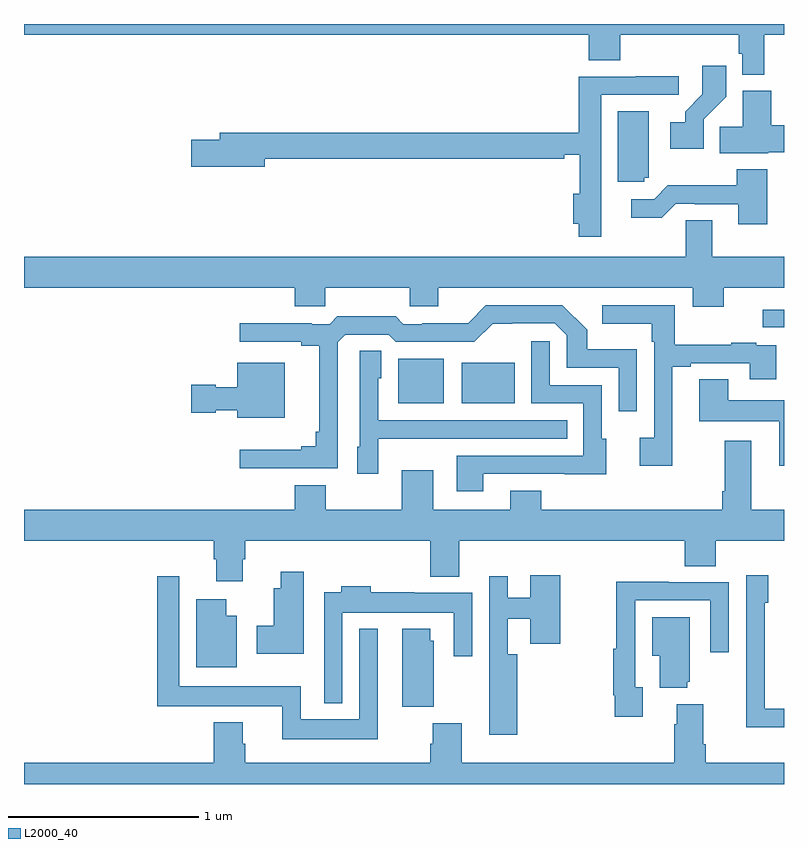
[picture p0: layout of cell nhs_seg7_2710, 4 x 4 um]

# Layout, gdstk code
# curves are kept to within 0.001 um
import gdstk
lib = gdstk.Library(unit=1e-6, precision=1e-09)
def R(c, l, rs):  # rectangles x0, y0, x1, y1
    for r in rs: c.add(gdstk.rectangle(r[:2], r[2:], *l))
def P(c, l, *ps):  # polygons
    for p in ps: c.add(gdstk.Polygon(p, *l))
L2000_40 = (2000, 40)

nhs_seg7_2710 = lib.new_cell('nhs_seg7_2710')
R(nhs_seg7_2710, L2000_40, [(288.971,1004.003,289.21,1004.239), (289.304,1004.003,289.582,1004.218), (290.889,1004.403,291,1004.497)])
P(nhs_seg7_2710, L2000_40, [(287,1005.944),(289.973,1005.944),(289.973,1005.808),(290.138,1005.808),(290.138,1005.944),(290.761,1005.944),(290.761,1005.843),(290.781,1005.843),(290.781,1005.734),(290.897,1005.734),(290.897,1005.944),(291,1005.944),(291,1006),(287,1006)],
  [(290.577,1005.499),(290.696,1005.618),(290.696,1005.781),(290.571,1005.781),(290.571,1005.629),(290.48,1005.539),(290.48,1005.484),(290.4,1005.484),(290.4,1005.344),(290.577,1005.344)],
  [(290.038,1005.102),(290.037,1005.102),(290.037,1005.627),(290.446,1005.627),(290.446,1005.726),(290.221,1005.726),(290.221,1005.723),(289.921,1005.723),(289.921,1005.428),(288.029,1005.428),(288.029,1005.392),(287.88,1005.392),(287.88,1005.25),(288.268,1005.25),(288.268,1005.292),(289.844,1005.292),(289.844,1005.311),(289.925,1005.311),(289.925,1005.106),(289.892,1005.106),(289.892,1004.948),(289.921,1004.948),(289.921,1004.88),(290.038,1004.88)],
  [(290.916,1005.326),(291,1005.326),(291,1005.468),(290.933,1005.468),(290.933,1005.649),(290.783,1005.649),(290.783,1005.458),(290.662,1005.458),(290.662,1005.32),(290.916,1005.32)],
  [(290.265,1005.192),(290.287,1005.192),(290.287,1005.541),(290.126,1005.541),(290.126,1005.171),(290.265,1005.171)],
  [(290.912,1005.235),(290.752,1005.235),(290.752,1005.151),(290.389,1005.151),(290.316,1005.078),(290.196,1005.078),(290.196,1004.981),(290.357,1004.981),(290.43,1005.054),(290.53,1005.054),(290.53,1005.051),(290.759,1005.051),(290.759,1004.946),(290.912,1004.946)],
  [(290.683,1004.612),(291,1004.612),(291,1004.776),(290.623,1004.776),(290.623,1004.966),(290.484,1004.966),(290.484,1004.776),(287,1004.776),(287,1004.612),(288.425,1004.612),(288.425,1004.514),(288.585,1004.514),(288.585,1004.612),(289.03,1004.612),(289.03,1004.514),(289.18,1004.514),(289.18,1004.612),(290.519,1004.612),(290.519,1004.513),(290.683,1004.513)],
  [(288.651,1004.325),(288.69,1004.364),(288.921,1004.364),(288.957,1004.328),(289.371,1004.328),(289.466,1004.423),(289.794,1004.424),(289.857,1004.361),(289.857,1004.19),(290.13,1004.19),(290.13,1003.962),(290.226,1003.962),(290.226,1004.287),(289.965,1004.287),(289.965,1004.39),(289.834,1004.52),(289.431,1004.52),(289.337,1004.426),(289.096,1004.426),(289.096,1004.421),(288.996,1004.421),(288.957,1004.461),(288.649,1004.461),(288.609,1004.421),(288.515,1004.421),(288.515,1004.426),(288.135,1004.426),(288.135,1004.328),(288.458,1004.328),(288.458,1004.306),(288.554,1004.306),(288.554,1003.855),(288.535,1003.855),(288.535,1003.778),(288.458,1003.778),(288.458,1003.759),(288.135,1003.759),(288.135,1003.662),(288.651,1003.662)],
  [(290.413,1004.196),(290.509,1004.196),(290.509,1004.214),(290.819,1004.214),(290.819,1004.13),(290.959,1004.13),(290.959,1004.31),(290.855,1004.31),(290.855,1004.323),(290.723,1004.323),(290.723,1004.312),(290.425,1004.312),(290.425,1004.52),(290.043,1004.52),(290.043,1004.423),(290.304,1004.423),(290.304,1004.327),(290.316,1004.327),(290.316,1003.822),(290.241,1003.822),(290.241,1003.674),(290.413,1003.674)],
  [(289.417,1003.632),(289.847,1003.632),(289.847,1003.631),(290.065,1003.631),(290.065,1003.818),(290.04,1003.818),(290.04,1004.1),(289.767,1004.1),(289.767,1004.329),(289.671,1004.329),(289.671,1004.004),(289.944,1004.004),(289.944,1003.728),(289.277,1003.728),(289.277,1003.542),(289.417,1003.542)],
  [(288.864,1003.817),(289.181,1003.817),(289.181,1003.818),(289.859,1003.818),(289.859,1003.914),(288.864,1003.914),(288.864,1004.136),(288.88,1004.136),(288.88,1004.279),(288.768,1004.279),(288.768,1003.776),(288.755,1003.776),(288.755,1003.632),(288.864,1003.632)],
  [(288.373,1004.218),(288.122,1004.218),(288.122,1004.089),(288.009,1004.089),(288.009,1004.102),(287.88,1004.102),(287.88,1003.955),(288.009,1003.955),(288.009,1003.967),(288.122,1003.967),(288.122,1003.928),(288.373,1003.928)],
  [(291,1004.02),(290.707,1004.02),(290.707,1004.129),(290.555,1004.129),(290.555,1003.91),(290.975,1003.91),(290.975,1003.674),(291,1003.674)],
  [(288.151,1003.182),(288.164,1003.182),(288.164,1003.28),(289.139,1003.28),(289.139,1003.091),(289.291,1003.091),(289.291,1003.28),(290.477,1003.28),(290.477,1003.147),(290.642,1003.147),(290.642,1003.28),(291,1003.28),(291,1003.444),(290.827,1003.444),(290.827,1003.807),(290.687,1003.807),(290.687,1003.54),(290.675,1003.54),(290.675,1003.444),(289.723,1003.444),(289.723,1003.543),(289.559,1003.543),(289.559,1003.444),(289.153,1003.444),(289.153,1003.651),(288.989,1003.651),(288.989,1003.444),(288.589,1003.444),(288.589,1003.573),(288.425,1003.573),(288.425,1003.444),(287,1003.444),(287,1003.28),(287.999,1003.28),(287.999,1003.182),(288.011,1003.182),(288.011,1003.068),(288.151,1003.068)],
  [(288.472,1003.117),(288.35,1003.117),(288.35,1003.03),(288.314,1003.03),(288.314,1002.834),(288.225,1002.834),(288.225,1002.686),(288.472,1002.686)],
  [(289.595,1002.682),(289.545,1002.682),(289.545,1002.869),(289.664,1002.869),(289.664,1002.738),(289.822,1002.738),(289.822,1003.099),(289.664,1003.099),(289.664,1002.979),(289.545,1002.979),(289.545,1003.093),(289.449,1003.093),(289.449,1002.578),(289.448,1002.578),(289.448,1002.258),(289.595,1002.258)],
  [(291,1002.396),(290.898,1002.396),(290.898,1002.954),(290.917,1002.954),(290.917,1003.099),(290.802,1003.099),(290.802,1002.605),(290.8,1002.605),(290.8,1002.299),(291,1002.299)],
  [(288.862,1002.817),(288.765,1002.817),(288.765,1002.34),(288.456,1002.34),(288.456,1002.514),(287.817,1002.514),(287.817,1003.093),(287.701,1003.093),(287.701,1002.408),(287.824,1002.408),(287.824,1002.41),(288.359,1002.41),(288.359,1002.236),(288.862,1002.236)],
  [(290.257,1002.51),(290.217,1002.51),(290.217,1002.966),(290.613,1002.966),(290.613,1002.693),(290.709,1002.693),(290.709,1003.062),(290.393,1003.062),(290.393,1003.064),(290.116,1003.064),(290.116,1002.713),(290.101,1002.713),(290.101,1002.466),(290.109,1002.466),(290.109,1002.354),(290.257,1002.354)],
  [(288.675,1002.902),(289.263,1002.902),(289.263,1002.672),(289.359,1002.672),(289.359,1003.006),(289.055,1003.006),(289.055,1003.009),(288.824,1003.009),(288.824,1003.042),(288.671,1003.042),(288.671,1003.009),(288.579,1003.009),(288.579,1002.425),(288.675,1002.425)],
  [(288.121,1002.886),(288.064,1002.886),(288.064,1002.973),(287.906,1002.973),(287.906,1002.614),(288.121,1002.614)],
  [(290.492,1002.537),(290.503,1002.537),(290.503,1002.877),(290.306,1002.877),(290.306,1002.674),(290.345,1002.674),(290.345,1002.506),(290.492,1002.506)],
  [(289.156,1002.753),(289.138,1002.753),(289.138,1002.817),(288.992,1002.817),(288.992,1002.406),(289.156,1002.406)],
  [(290.575,1002.208),(290.575,1002.421),(290.435,1002.421),(290.435,1002.314),(290.423,1002.314),(290.423,1002.112),(289.304,1002.112),(289.304,1002.321),(289.151,1002.321),(289.151,1002.212),(289.139,1002.212),(289.139,1002.112),(288.164,1002.112),(288.164,1002.213),(288.151,1002.213),(288.151,1002.325),(287.999,1002.325),(287.999,1002.112),(287,1002.112),(287,1002),(291,1002),(291,1002.112),(290.588,1002.112),(290.588,1002.208)])

lib.write_gds('nhs_seg7_2710.gds')
